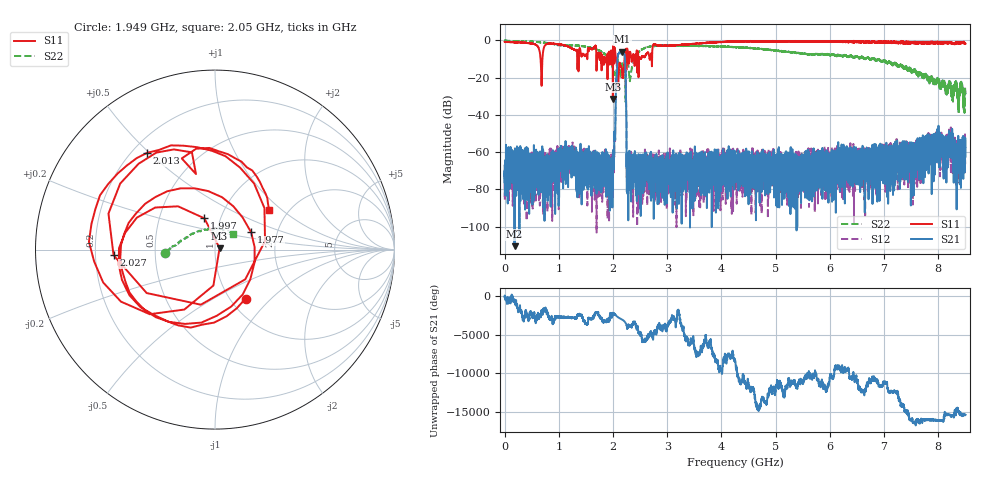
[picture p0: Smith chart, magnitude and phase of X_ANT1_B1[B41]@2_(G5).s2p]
#  HZ  S  RI  R  50.00
! Rohde & Schwarz Vector Network Analyzer
! Rohde-Schwarz,ZNBT8-20Port,1318700624101681,3.50
! Created: UTC 7/15/2025, 2:10:35 PM
! freq[Hz]  re:S1010  im:S1010  re:S0510  im:S0510  re:S1005  im:S1005  re:S55  im:S55
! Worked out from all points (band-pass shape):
!   8500 points, 1 MHz to 8.5 GHz, reference 50 ohm
!   highest |S21| = -6.13 dB at 2.173 GHz (marker M1); lowest = -110.4 dB at 184 MHz (marker M2)
!   |S21| within 3 dB of the highest: 2.086 GHz to 2.219 GHz (132.7 MHz wide, 6.16 % of centre)
!   lowest |S11| = -31.5 dB at 1.998 GHz (marker M3), VSWR 1.05, Z = 52.6 + j0.831 ohm
!   |S11| at or under -10 dB: 663.9 MHz to 698.6 MHz (34.75 MHz wide, 5.1 % of centre); 2.059 GHz to 2.214 GHz (154.2 MHz wide, 7.22 % of centre); 2.389 GHz to 2.408 GHz (19.04 MHz wide, 0.794 % of centre)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
!   |S22| runs from -39.6 to -0.1 dB; largest |S21 - S12| = 0.019
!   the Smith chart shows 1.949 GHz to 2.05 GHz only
!   S11 on the Smith chart (normalised r, x): 1.949 GHz: 1.18, -0.72; 1.977 GHz: 1.47, +0.30; 1.997 GHz: 0.84, +0.30; 2.013 GHz: 0.26, +0.49; 2.027 GHz: 0.28, -0.03; 2.05 GHz: 1.61, +0.82
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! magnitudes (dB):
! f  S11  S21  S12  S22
! 1 MHz  -0.8  -72.4  -74.6  -0.2
! 184 MHz  -1.0  -110.4  -82.4  -0.5
! 676 MHz  -17.9  -64.8  -67.0  -1.1
! 808 MHz  -1.8  -79.0  -77.3  -1.5
! 1.217 GHz  -4.1  -58.3  -66.2  -2.7
! 1.418 GHz  -8.5  -78.5  -68.0  -3.1
! 1.949 GHz  -9.9  -71.1  -73.6  -11.0
! 1.977 GHz  -13.0  -71.2  -65.0  -13.0
! 1.997 GHz  -14.7  -62.0  -73.0  -15.1
! 1.998 GHz  -31.5  -64.5  -82.3  -15.0
! 2.013 GHz  -3.6  -63.2  -66.5  -16.6
! 2.027 GHz  -4.9  -49.9  -49.7  -18.3
! 2.05 GHz  -8.5  -33.0  -32.8  -17.6
! 2.095 GHz  -24.6  -7.6  -7.5  -13.9
! 2.173 GHz  -19.0  -6.1  -6.2  -12.7
! 2.206 GHz  -13.1  -6.9  -6.9  -13.2
! 2.293 GHz  -10.3  -62.5  -60.3  -17.0
! 2.834 GHz  -2.8  -75.2  -63.3  -2.8
! 4.251 GHz  -0.6  -69.4  -72.2  -3.6
! 5.667 GHz  -0.4  -61.6  -63.4  -7.7
! 7.084 GHz  -0.8  -70.9  -58.8  -11.6
! 8.5 GHz  -1.8  -52.8  -58.1  -28.8
